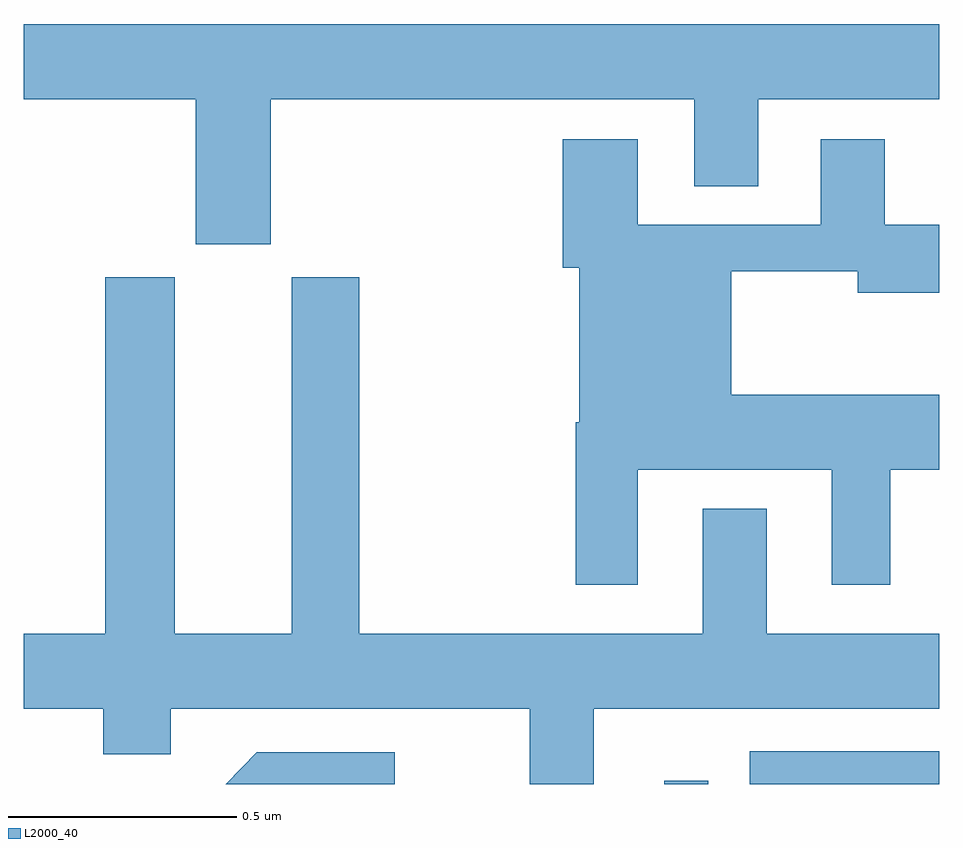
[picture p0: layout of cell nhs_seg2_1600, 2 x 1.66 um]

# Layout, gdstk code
import gdstk
lib = gdstk.Library(unit=1e-6, precision=1e-09)
def R(c, l, rs):  # rectangles x0, y0, x1, y1
    for r in rs: c.add(gdstk.rectangle(r[:2], r[2:], *l))
def P(c, l, *ps):  # polygons
    for p in ps: c.add(gdstk.Polygon(p, *l))
L2000_40 = (2000, 40)

nhs_seg2_1600 = lib.new_cell('nhs_seg2_1600')
R(nhs_seg2_1600, L2000_40, [(131.399,652.8,131.495,652.807), (131.586,652.8,132,652.872)])
P(nhs_seg2_1600, L2000_40, [(130.54,654.296),(131.465,654.296),(131.465,654.106),(131.605,654.106),(131.605,654.296),(132,654.296),(132,654.46),(130,654.46),(130,654.296),(130.376,654.296),(130.376,653.979),(130.54,653.979)],
  [(131.341,653.486),(131.765,653.486),(131.765,653.235),(131.893,653.235),(131.893,653.486),(132,653.486),(132,653.65),(131.545,653.65),(131.545,653.92),(131.822,653.92),(131.822,653.873),(132,653.873),(132,654.022),(131.881,654.022),(131.881,654.208),(131.741,654.208),(131.741,654.021),(131.341,654.021),(131.341,654.208),(131.177,654.208),(131.177,653.928),(131.213,653.928),(131.213,653.59),(131.206,653.59),(131.206,653.235),(131.341,653.235)],
  [(131.245,652.964),(132,652.964),(132,653.128),(131.623,653.128),(131.623,653.401),(131.483,653.401),(131.483,653.128),(130.733,653.128),(130.733,653.907),(130.586,653.907),(130.586,653.128),(130.33,653.128),(130.33,653.907),(130.178,653.907),(130.178,653.128),(130,653.128),(130,652.964),(130.174,652.964),(130.174,652.865),(130.321,652.865),(130.321,652.964),(131.105,652.964),(131.105,652.8),(131.245,652.8)],
  [(130.81,652.869),(130.509,652.869),(130.441,652.8),(130.81,652.8)])

lib.write_gds('nhs_seg2_1600.gds')
